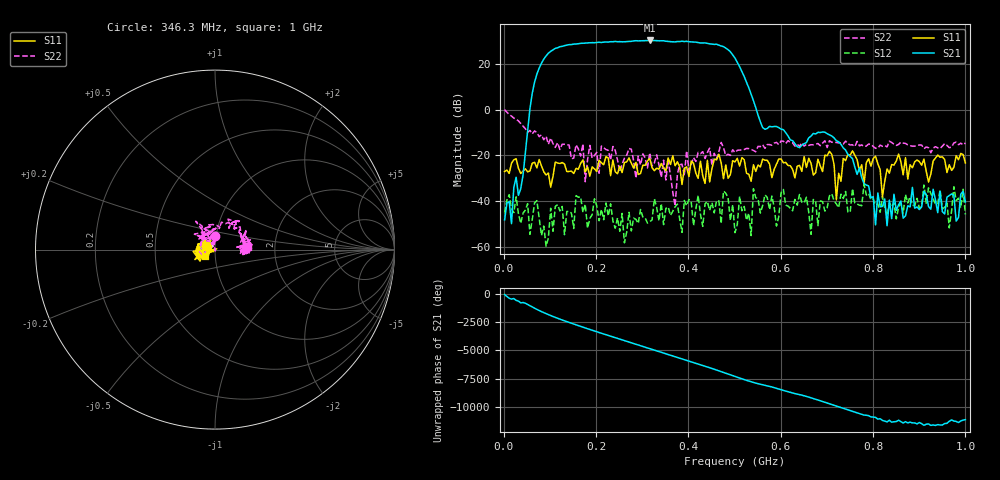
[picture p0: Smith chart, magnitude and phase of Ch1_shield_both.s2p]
!Keysight Technologies N9923A: A.12.45
!Date: Friday, 10 October 2025 03:05:27
!Timezone: (UTC+08:00) Kuala Lumpur, Singapore
!Model: N9923A
!Serial: MY61181427
!GPS Latitude:
!GPS Longitude:
!GPS TimeStamp: 0001-01-01 00:00:00Z
!GPS Seconds Since Last Read: 0
!CHECKSUM:1582598452
!Correction: S11(ON U?)S21(ON U?)S12(ON U?)S22(ON U?)
!S2P File: Measurements:S11,S21,S12,S22:
# Hz S DB R 50
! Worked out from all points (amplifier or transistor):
!   201 points, 2 MHz to 1 GHz, reference 50 ohm
!   highest |S21| = 30.4 dB at 316.4 MHz (marker M1)
!   |S21| within 3 dB of that: 119 MHz to 478.4 MHz (359.4 MHz wide, 120 % of centre)
!   unconditionally stable (mu >= 1): 2.174 MHz to end of sweep
!   at 166.7 MHz: K = 1.59, MAG = 29.2 dB, |S12| = -38.3 dB
!   at 501 MHz: K = 17.94, MAG = 22.7 dB, |S12| = -53.9 dB
!   at 1 GHz: K = 10102.77, MAG = -40.3 dB, |S12| = -46.0 dB
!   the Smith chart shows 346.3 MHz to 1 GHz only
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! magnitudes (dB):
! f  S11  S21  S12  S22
! 2 MHz  -27.1  -48.3  -45.1  0.0
! 36.93 MHz  -28.0  -34.7  -49.8  -6.0
! 76.85 MHz  -21.8  18.2  -47.5  -11.8
! 171.7 MHz  -22.0  29.1  -45.0  -15.0
! 176.7 MHz  -27.3  29.2  -41.4  -31.6
! 186.6 MHz  -29.1  29.3  -47.7  -15.6
! 316.4 MHz  -21.3  30.4  -49.1  -18.9
! 336.3 MHz  -26.1  30.2  -48.7  -24.2
! 371.3 MHz  -24.6  29.7  -42.6  -42.2
! 396.2 MHz  -25.1  30.0  -42.1  -18.0
! 476.1 MHz  -30.3  27.7  -35.7  -16.5
! 501 MHz  -22.9  22.6  -53.9  -18.8
! 511 MHz  -24.7  18.9  -38.0  -17.7
! 560.9 MHz  -21.7  -7.8  -42.1  -15.3
! 655.7 MHz  -25.3  -14.4  -38.4  -15.2
! 665.7 MHz  -23.5  -11.6  -54.6  -15.4
! 670.7 MHz  -28.6  -10.4  -39.3  -15.4
! 770.5 MHz  -26.9  -25.5  -41.9  -15.8
! 805.4 MHz  -20.4  -50.5  -41.8  -16.9
! 820.4 MHz  -38.2  -42.4  -38.1  -16.1
! 835.3 MHz  -27.8  -39.7  -40.9  -13.8
! 1 GHz  -23.4  -40.5  -46.0  -14.6
